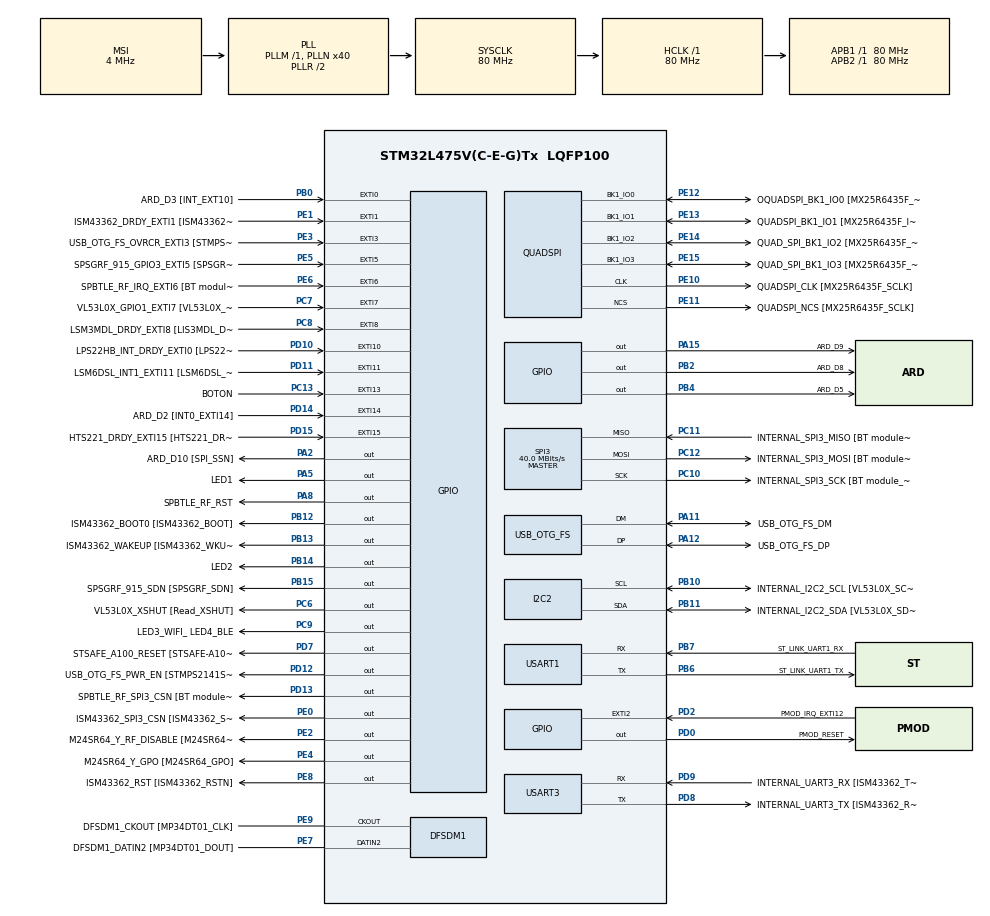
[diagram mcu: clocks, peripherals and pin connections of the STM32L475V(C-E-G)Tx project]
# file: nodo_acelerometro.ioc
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FREERTOS.Queues01=print_queue,2,uintptr_t,0,Dynamic,NULL,NULL;receive_queue,1,uint8_t,0,Dynamic,NULL,NULL;publish_queue,1024,uintptr_t,0,Dynamic,NULL,NULL
FREERTOS.Tasks01=conf_inicial,24,256,conf_inicial_func,Default,NULL,Dynamic,NULL,NULL;readAccel,24,512,readAccel_func,Default,NULL,Dynamic,NULL,NULL;printTask,24,128,printTask_func,Default,NULL,Dynamic,NULL,NULL;tarea_UART,24,128,tarea_UART_func,Default,NULL,Dynamic,NULL,NULL;temporizador,24,128,temporizador_func,Default,NULL,Dynamic,NULL,NULL;clientMQTT,24,512,clientMQTT_func,Default,NULL,Dynamic,NULL,NULL
FREERTOS.configGENERATE_RUN_TIME_STATS=1
FREERTOS.configTOTAL_HEAP_SIZE=25000
FREERTOS.configUSE_NEWLIB_REENTRANT=1
FREERTOS.configUSE_STATS_FORMATTING_FUNCTIONS=1
Mcu.Family=STM32L4
Mcu.Name=STM32L475V(C-E-G)Tx
Mcu.Package=LQFP100
NVIC.EXTI15_10_IRQn=true\:5\:0\:false\:false\:true\:true\:true\:true\:true
NVIC.EXTI1_IRQn=true\:5\:0\:true\:false\:true\:false\:true\:true\:true
NVIC.EXTI9_5_IRQn=true\:5\:0\:false\:false\:true\:true\:true\:true\:true
NVIC.PriorityGroup=NVIC_PRIORITYGROUP_4
NVIC.SPI3_IRQn=true\:5\:0\:true\:false\:false\:false\:true\:true\:true
NVIC.TIM6_DAC_IRQn=true\:15\:0\:false\:false\:true\:false\:false\:true\:true
NVIC.TIM7_IRQn=true\:5\:0\:false\:false\:true\:true\:true\:true\:true
NVIC.TimeBase=TIM6_DAC_IRQn
NVIC.TimeBaseIP=TIM6
NVIC.USART1_IRQn=true\:5\:0\:false\:false\:true\:true\:true\:true\:true
PA0.GPIO_Label=ARD_D1 [UART4_TX]
PA0.Signal=UART4_TX
PA1.GPIO_Label=ARD_D0 [UART4_RX]
PA1.Signal=UART4_RX
PA10.GPIO_Label=USB_OTG_FS_ID
PA10.Signal=USB_OTG_FS_ID
PA11.GPIO_Label=USB_OTG_FS_DM
PA11.Mode=Device_Only
PA11.Signal=USB_OTG_FS_DM
PA12.GPIO_Label=USB_OTG_FS_DP
PA12.Mode=Device_Only
PA12.Signal=USB_OTG_FS_DP
PA13\ (JTMS-SWDIO).GPIO_Label=SYS_JTMS_SWDIO
PA13\ (JTMS-SWDIO).Mode=Trace_Asynchronous_SW
PA13\ (JTMS-SWDIO).Signal=SYS_JTMS-SWDIO
PA14\ (JTCK-SWCLK).GPIO_Label=SYS_JTCK_SWCLK
PA14\ (JTCK-SWCLK).Mode=Trace_Asynchronous_SW
PA14\ (JTCK-SWCLK).Signal=SYS_JTCK-SWCLK
PA15\ (JTDI).GPIO_Label=ARD_D9
PA15\ (JTDI).Signal=GPIO_Output
PA2.GPIO_Label=ARD_D10 [SPI_SSN]
PA2.Signal=GPIO_Output
PA3.GPIO_Label=ARD_D4
PA3.Signal=S_TIM2_CH4
PA4.GPIO_Label=ARD_D7
PA4.Signal=ADCx_IN9
PA5.GPIO_Label=LED1
PA5.Signal=GPIO_Output
PA6.GPIO_Label=ARD_D12 [SPI1_MISO]
PA6.Signal=SPI1_MISO
PA7.GPIO_Label=ARD_D11 [SPI1_MOSI]
PA7.Signal=SPI1_MOSI
PA8.GPIO_Label=SPBTLE_RF_RST
PA8.Signal=GPIO_Output
PA9.GPIO_Label=USB_OTG_FS_VBUS [STMPS2141STR_OUT]
PA9.Signal=USB_OTG_FS_VBUS
PB0.GPIO_Label=ARD_D3 [INT_EXT10]
PB0.Signal=GPXTI0
PB1.GPIO_Label=ARD_D6 [ADC1_IN6]
PB1.Signal=ADCx_IN16
PB10.GPIO_Label=INTERNAL_I2C2_SCL [VL53L0X_SCL]
PB10.GPIO_Pu=GPIO_PULLUP
PB10.Mode=I2C
PB10.Signal=I2C2_SCL
PB11.GPIO_Label=INTERNAL_I2C2_SDA [VL53L0X_SDA]
PB11.GPIO_Pu=GPIO_PULLUP
PB11.Mode=I2C
PB11.Signal=I2C2_SDA
PB12.GPIO_Label=ISM43362_BOOT0 [ISM43362_BOOT]
PB12.Signal=GPIO_Output
PB13.GPIO_Label=ISM43362_WAKEUP [ISM43362_WKUP]
PB13.Signal=GPIO_Output
PB14.GPIO_Label=LED2
PB14.Signal=GPIO_Output
PB15.GPIO_Label=SPSGRF_915_SDN [SPSGRF_SDN]
PB15.Signal=GPIO_Output
PB2.GPIO_Label=ARD_D8
PB2.Signal=GPIO_Output
PB3\ (JTDO-TRACESWO).GPIO_Label=SYS_JTD0_SWO
PB3\ (JTDO-TRACESWO).Mode=Trace_Asynchronous_SW
PB3\ (JTDO-TRACESWO).Signal=SYS_JTDO-SWO
PB4\ (NJTRST).GPIO_Label=ARD_D5
PB4\ (NJTRST).Signal=GPIO_Output
PB6.GPIO_Label=ST_LINK_UART1_TX
PB6.Mode=Asynchronous
PB6.Signal=USART1_TX
PB7.GPIO_Label=ST_LINK_UART1_RX
PB7.Mode=Asynchronous
PB7.Signal=USART1_RX
PB8.GPIO_Label=ARD_D15 [I2C1_SCL]
PB8.Signal=I2C1_SCL
PB9.GPIO_Label=ARD_D14 [I2C1_SDA]
PB9.Signal=I2C1_SDA
PC0.GPIO_Label=ARD_A5 [ADC]
PC0.Signal=ADCx_IN1
PC1.GPIO_Label=ARD_A4 [ADC]
PC1.Signal=ADCx_IN2
PC10.GPIO_Label=INTERNAL_SPI3_SCK [BT module_SPI_SCLK] [ISM43362_SCK]
PC10.Mode=Full_Duplex_Master
PC10.Signal=SPI3_SCK
PC11.GPIO_Label=INTERNAL_SPI3_MISO [BT module_SPI_MISO] [ISM43362_MISO]
PC11.Mode=Full_Duplex_Master
PC11.Signal=SPI3_MISO
PC12.GPIO_Label=INTERNAL_SPI3_MOSI [BT module_SPI_MOSI] [ISM43362_MOSI]
PC12.Mode=Full_Duplex_Master
PC12.Signal=SPI3_MOSI
PC13.GPIO_Label=BOTON
PC13.Signal=GPXTI13
PC14-OSC32_IN\ (PC14).Mode=LSE-External-Oscillator
PC14-OSC32_IN\ (PC14).Signal=RCC_OSC32_IN
PC15-OSC32_OUT\ (PC15).Mode=LSE-External-Oscillator
PC15-OSC32_OUT\ (PC15).Signal=RCC_OSC32_OUT
PC2.GPIO_Label=ARD_A3 [ADC]
PC2.Signal=ADCx_IN3
PC3.GPIO_Label=ARD_A2 [ADC]
PC3.Signal=ADCx_IN4
PC4.GPIO_Label=ARD_A1 [ADC]
PC4.Signal=ADCx_IN13
PC5.GPIO_Label=ARD_A0 [ADC]
PC5.Signal=ADCx_IN14
PC6.GPIO_Label=VL53L0X_XSHUT [Read_XSHUT]
PC6.Signal=GPIO_Output
PC7.GPIO_Label=VL53L0X_GPIO1_EXTI7 [VL53L0X_GPIO1]
PC7.Signal=GPXTI7
PC8.GPIO_Label=LSM3MDL_DRDY_EXTI8 [LIS3MDL_DRDY]
PC8.Signal=GPXTI8
PC9.GPIO_Label=LED3_WIFI_ LED4_BLE
PC9.Signal=GPIO_Output
PD0.GPIO_Label=PMOD_RESET
PD0.Signal=GPIO_Output
PD1.GPIO_Label=PMOD_SPI2_SCK
PD1.Signal=SPI2_SCK
PD10.GPIO_Label=LPS22HB_INT_DRDY_EXTI0 [LPS22HB_INT_DRDY] 
PD10.Signal=GPXTI10
PD11.GPIO_Label=LSM6DSL_INT1_EXTI11 [LSM6DSL_INT1]
PD11.Signal=GPXTI11
PD12.GPIO_Label=USB_OTG_FS_PWR_EN [STMPS2141STR_EN]
PD12.Signal=GPIO_Output
PD13.GPIO_Label=SPBTLE_RF_SPI3_CSN [BT module_SPI_CS]
PD13.PinState=GPIO_PIN_SET
PD13.Signal=GPIO_Output
PD14.GPIO_Label=ARD_D2 [INT0_EXTI14]
PD14.Signal=GPXTI14
PD15.GPIO_Label=HTS221_DRDY_EXTI15 [HTS221_DRDY]
PD15.Signal=GPXTI15
PD2.GPIO_Label=PMOD_IRQ_EXTI12
PD2.Signal=GPXTI2
PD3.GPIO_Label=PMOD_UART2_CTS
PD3.Signal=USART2_CTS
PD4.GPIO_Label=PMOD_UART2_RTS
PD4.Signal=USART2_RTS
PD5.GPIO_Label=PMOD_UART2_TX
PD5.Signal=USART2_TX
PD6.GPIO_Label=PMOD_UART2_RX
PD6.Signal=USART2_RX
PD7.GPIO_Label=STSAFE_A100_RESET [STSAFE-A100_RESET]
PD7.Signal=GPIO_Output
PD8.GPIO_Label=INTERNAL_UART3_TX [ISM43362_RX]
PD8.Mode=Asynchronous
PD8.Signal=USART3_TX
PD9.GPIO_Label=INTERNAL_UART3_RX [ISM43362_TX]
PD9.Mode=Asynchronous
PD9.Signal=USART3_RX
PE0.GPIO_Label=ISM43362_SPI3_CSN [ISM43362_SSN]
PE0.PinState=GPIO_PIN_SET
PE0.Signal=GPIO_Output
PE1.GPIO_Label=ISM43362_DRDY_EXTI1 [ISM43362_DATARDY]
PE1.Signal=GPXTI1
PE10.GPIO_Label=QUADSPI_CLK [MX25R6435F_SCLK]
PE10.Mode=Single Bank
PE10.Signal=QUADSPI_CLK
PE11.GPIO_Label=QUADSPI_NCS [MX25R6435F_SCLK]
PE11.Mode=Single Bank
PE11.Signal=QUADSPI_NCS
PE12.GPIO_Label=OQUADSPI_BK1_IO0 [MX25R6435F_IO0]
PE12.Mode=Single Bank
PE12.Signal=QUADSPI_BK1_IO0
PE13.GPIO_Label=QUADSPI_BK1_IO1 [MX25R6435F_IO1]
PE13.Mode=Single Bank
PE13.Signal=QUADSPI_BK1_IO1
PE14.GPIO_Label=QUAD_SPI_BK1_IO2 [MX25R6435F_IO2]
PE14.Mode=Single Bank
PE14.Signal=QUADSPI_BK1_IO2
PE15.GPIO_Label=QUAD_SPI_BK1_IO3 [MX25R6435F_IO3]
PE15.Mode=Single Bank
PE15.Signal=QUADSPI_BK1_IO3
PE2.GPIO_Label=M24SR64_Y_RF_DISABLE [M24SR64_RFDIS]
PE2.Signal=GPIO_Output
PE3.GPIO_Label=USB_OTG_FS_OVRCR_EXTI3 [STMPS2141STR_FAULT]
PE3.Signal=GPXTI3
PE4.GPIO_Label=M24SR64_Y_GPO [M24SR64_GPO]
PE4.Signal=GPIO_Output
PE5.GPIO_Label=SPSGRF_915_GPIO3_EXTI5 [SPSGRF_GPIO_3]
PE5.Signal=GPXTI5
PE6.GPIO_Label=SPBTLE_RF_IRQ_EXTI6 [BT module_SPI_IRQ]
PE6.Signal=GPXTI6
PE7.GPIO_Label=DFSDM1_DATIN2 [MP34DT01_DOUT]
PE7.Signal=S_DATAIN2DFSDM1
PE8.GPIO_Label=ISM43362_RST [ISM43362_RSTN]
PE8.Signal=GPIO_Output
PE9.GPIO_Label=DFSDM1_CKOUT [MP34DT01_CLK]
PE9.Signal=S_CKOUTDFSDM1
ProjectManager.HeapSize=0x200
ProjectManager.StackSize=0x400
ProjectManager.TargetToolchain=STM32CubeIDE
QUADSPI.ClockPrescaler=2
QUADSPI.FifoThreshold=4
QUADSPI.FlashSize=23
QUADSPI.SampleShifting=QSPI_SAMPLE_SHIFTING_HALFCYCLE
RCC.ADCFreq_Value=48000000
RCC.AHBFreq_Value=80000000
RCC.APB1Freq_Value=80000000
RCC.APB1TimFreq_Value=80000000
RCC.APB2Freq_Value=80000000
RCC.APB2TimFreq_Value=80000000
RCC.CortexFreq_Value=80000000
RCC.HCLKFreq_Value=80000000
RCC.HSE_VALUE=8000000
RCC.HSI_VALUE=16000000
RCC.MSI_VALUE=4000000
RCC.PLLN=40
RCC.PLLSAI1N=24
RCC.SYSCLKFreq_VALUE=80000000
RCC.SYSCLKSource=RCC_SYSCLKSOURCE_PLLCLK
RCC.USBFreq_Value=48000000
RCC.VCOOutputFreq_Value=160000000
RTC.Format=RTC_FORMAT_BIN
RTC.Hours=13
RTC.Minutes=1
RTC.SynchPrediv=999
SH.ADCx_IN1.0=ADC1_IN1
SH.ADCx_IN13.0=ADC1_IN13
SH.ADCx_IN14.0=ADC1_IN14
SH.ADCx_IN16.0=ADC1_IN16
SH.ADCx_IN2.0=ADC1_IN2
SH.ADCx_IN3.0=ADC1_IN3
SH.ADCx_IN4.0=ADC1_IN4
SH.ADCx_IN9.0=ADC1_IN9
SH.S_CKOUTDFSDM1.0=DFSDM1_CKOUT,CKOUT
SH.S_CKOUTDFSDM1.1=DFSDM1_CKOUT,PDM_SPI_Input_from_ch12_and_Internal_Clock
SH.S_DATAIN2DFSDM1.0=DFSDM1_DATIN2,PDM_SPI_Input_from_ch12_and_Internal_Clock
SH.S_TIM2_CH4.0=TIM2_CH4
SPI3.CalculateBaudRate=40.0 MBits/s
SPI3.Direction=SPI_DIRECTION_2LINES
SPI3.Mode=SPI_MODE_MASTER
SPI3.VirtualType=VM_MASTER
TIM7.Period=799
USART1.VirtualMode-Asynchronous=VM_ASYNC
USART3.VirtualMode-Asynchronous=VM_ASYNC
USB_OTG_FS.VirtualMode=Device_Only
VP_FREERTOS_VS_CMSIS_V2.Mode=CMSIS_V2
VP_RTC_VS_RTC_Activate.Mode=RTC_Enabled
VP_RTC_VS_RTC_Calendar.Mode=RTC_Calendar
VP_SYS_VS_tim6.Mode=TIM6
VP_TIM7_VS_ClockSourceINT.Mode=Enable_Timer
board=B-L475E-IOT01A2

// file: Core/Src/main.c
/* USER CODE BEGIN Header */
/**
  ******************************************************************************
  * @file           : main.c
  * @brief          : Main program body
  ******************************************************************************
  * @attention
  *
  * Copyright (c) 2022 STMicroelectronics.
  * All rights reserved.
  *
  * This software is licensed under terms that can be found in the LICENSE file
  * in the root directory of this software component.
  * If no LICENSE file comes with this software, it is provided AS-IS.
  *
  ******************************************************************************
  */
/* USER CODE END Header */
#include "main.h"
#include "cmsis_os.h"

/* USER CODE BEGIN Includes */
#include <stdio.h>
#include <stdbool.h>
#include "stm32l475e_iot01.h"
#include <math.h>
#include <string.h>
#include "stm32l475e_iot01_accelero.h"

#include "es_wifi.h"
#include "wifi.h"

#include "core_mqtt.h"
#include "mqtt_priv.h"
#include "timers.h"

/* USER CODE END Includes */

/* USER CODE BEGIN PM */
#define MODO_NORMAL 0x0001U
#define MODO_CONTINUO 0x0002U
#define TIMER_MQTT 0x0004U

#define MUESTRAS_NORMAL 64
#define MUESTRAS_CONTINUO 1024

#define MAX_LEN_SSID 10
#define MAX_LEN_PSSWRD 20

#define WIFISECURITY WIFI_ECN_WPA2_PSK
//#define WIFISECURITY WIFI_ECN_OPEN
#define SOCKET 0
#define SOCKETSUBS 1
#define WIFI_READ_TIMEOUT 10000
#define WIFI_WRITE_TIMEOUT 0
/* USER CODE END PM */

DFSDM_Channel_HandleTypeDef hdfsdm1_channel1;

I2C_HandleTypeDef hi2c2;

QSPI_HandleTypeDef hqspi;

RTC_HandleTypeDef hrtc;

SPI_HandleTypeDef hspi3;

TIM_HandleTypeDef htim7;

UART_HandleTypeDef huart1;
UART_HandleTypeDef huart3;

PCD_HandleTypeDef hpcd_USB_OTG_FS;

/* Definitions for conf_inicial */
osThreadId_t conf_inicialHandle;
const osThreadAttr_t conf_inicial_attributes = {
  .name = "conf_inicial",
  .stack_size = 256 * 4,
  .priority = (osPriority_t) osPriorityNormal,
};
/* Definitions for readAccel */
osThreadId_t readAccelHandle;
const osThreadAttr_t readAccel_attributes = {
  .name = "readAccel",
  .stack_size = 512 * 4,
  .priority = (osPriority_t) osPriorityNormal,
};
/* Definitions for printTask */
osThreadId_t printTaskHandle;
const osThreadAttr_t printTask_attributes = {
  .name = "printTask",
  .stack_size = 128 * 4,
  .priority = (osPriority_t) osPriorityNormal,
};
/* Definitions for tarea_UART */
osThreadId_t tarea_UARTHandle;
const osThreadAttr_t tarea_UART_attributes = {
  .name = "tarea_UART",
  .stack_size = 128 * 4,
  .priority = (osPriority_t) osPriorityNormal,
};
/* Definitions for temporizador */
osThreadId_t temporizadorHandle;
const osThreadAttr_t temporizador_attributes = {
  .name = "temporizador",
  .stack_size = 128 * 4,
  .priority = (osPriority_t) osPriorityNormal,
};
/* Definitions for clientMQTT */
osThreadId_t clientMQTTHandle;
const osThreadAttr_t clientMQTT_attributes = {
  .name = "clientMQTT",
  .stack_size = 512 * 4,
  .priority = (osPriority_t) osPriorityNormal,
};
/* Definitions for print_queue */
osMessageQueueId_t print_queueHandle;
const osMessageQueueAttr_t print_queue_attributes = {
  .name = "print_queue"
};
/* Definitions for receive_queue */
osMessageQueueId_t receive_queueHandle;
const osMessageQueueAttr_t receive_queue_attributes = {
  .name = "receive_queue"
};
/* Definitions for publish_queue */
osMessageQueueId_t publish_queueHandle;
const osMessageQueueAttr_t publish_queue_attributes = {
  .name = "publish_queue"
};
/* USER CODE BEGIN PV */
RTC_DateTypeDef GetDate; //Estructura para fijar/leer fecha
RTC_TimeTypeDef GetTime; //Estructura para fijar/leer hora

ACCELERO_StatusTypeDef status_acc;

volatile bool modo_continuo;
volatile frec_muestreo_actual = 52;

extern  SPI_HandleTypeDef hspi;
static  uint8_t  IP_Addr[4];

/* USER CODE END PV */

void SystemClock_Config(void);
static void MX_GPIO_Init(void);
static void MX_DFSDM1_Init(void);
static void MX_I2C2_Init(void);
static void MX_QUADSPI_Init(void);
static void MX_SPI3_Init(void);
static void MX_USART1_UART_Init(void);
static void MX_USART3_UART_Init(void);
static void MX_USB_OTG_FS_PCD_Init(void);
static void MX_TIM7_Init(void);
static void MX_RTC_Init(void);
void conf_inicial_func(void *argument);
void readAccel_func(void *argument);
void printTask_func(void *argument);
void tarea_UART_func(void *argument);
void temporizador_func(void *argument);
void clientMQTT_func(void *argument);

/* USER CODE BEGIN PFP */
volatile unsigned long ulHighFrequencyTimerTicks;
void configureTimerForRunTimeStats(void) {
	ulHighFrequencyTimerTicks = 0;
	HAL_TIM_Base_Start_IT(&htim7);
}
unsigned long getRunTimeCounterValue(void) {
	return ulHighFrequencyTimerTicks;

}

ACCELERO_StatusTypeDef BSP_ACCELERO_Init_INT(uint8_t frec, uint8_t fs);

/* USER CODE END PFP */

/* USER CODE BEGIN 0 */
uint8_t rec_data;
/* USER CODE END 0 */

int main(void)
{

  /* MCU Configuration--------------------------------------------------------*/

  /* Reset of all peripherals, Initializes the Flash interface and the Systick. */
  HAL_Init();

  /* Configure the system clock */
  SystemClock_Config();

  /* Initialize all configured peripherals */
  MX_GPIO_Init();
  MX_DFSDM1_Init();
  MX_I2C2_Init();
  MX_QUADSPI_Init();
  MX_SPI3_Init();
  MX_USART1_UART_Init();
  MX_USART3_UART_Init();
  MX_USB_OTG_FS_PCD_Init();
  MX_TIM7_Init();
  MX_RTC_Init();
  /* USER CODE BEGIN 2 */
  status_acc = BSP_ACCELERO_Init_INT(LSM6DSL_ODR_52Hz, LSM6DSL_ACC_FULLSCALE_2G);
  if (status_acc == ACCELERO_OK){
	  printf("Acelerometro inicializado\r\n");
  }

  /* USER CODE END 2 */

  /* Init scheduler */
  osKernelInitialize();

  /* Create the queue(s) */
  /* creation of print_queue */
  print_queueHandle = osMessageQueueNew (2, sizeof(uintptr_t), &print_queue_attributes);

  /* creation of receive_queue */
  receive_queueHandle = osMessageQueueNew (1, sizeof(uint8_t), &receive_queue_attributes);

  /* creation of publish_queue */
  publish_queueHandle = osMessageQueueNew (1024, sizeof(uintptr_t), &publish_queue_attributes);

  /* Create the thread(s) */
  /* creation of conf_inicial */
  conf_inicialHandle = osThreadNew(conf_inicial_func, NULL, &conf_inicial_attributes);

  /* creation of readAccel */
  readAccelHandle = osThreadNew(readAccel_func, NULL, &readAccel_attributes);

  /* creation of printTask */
  printTaskHandle = osThreadNew(printTask_func, NULL, &printTask_attributes);

  /* creation of tarea_UART */
  tarea_UARTHandle = osThreadNew(tarea_UART_func, NULL, &tarea_UART_attributes);

  /* creation of temporizador */
  temporizadorHandle = osThreadNew(temporizador_func, NULL, &temporizador_attributes);

  /* creation of clientMQTT */
  clientMQTTHandle = osThreadNew(clientMQTT_func, NULL, &clientMQTT_attributes);

  /* USER CODE BEGIN RTOS_THREADS */
  /* add threads, ... */
  HAL_UART_Receive_IT(&huart1,&rec_data,1);
  /* USER CODE END RTOS_THREADS */

  /* Start scheduler */
  osKernelStart();

  /* We should never get here as control is now taken by the scheduler */
  /* Infinite loop */
  while (1)
  {

  }
}

void SystemClock_Config(void)
{
  RCC_OscInitTypeDef RCC_OscInitStruct = {0};
  RCC_ClkInitTypeDef RCC_ClkInitStruct = {0};

  /** Configure the main internal regulator output voltage
  */
  if (HAL_PWREx_ControlVoltageScaling(PWR_REGULATOR_VOLTAGE_SCALE1) != HAL_OK)
  {
    Error_Handler();
  }

  /** Configure LSE Drive Capability
  */
  HAL_PWR_EnableBkUpAccess();
  __HAL_RCC_LSEDRIVE_CONFIG(RCC_LSEDRIVE_LOW);

  /** Initializes the RCC Oscillators according to the specified parameters
  * in the RCC_OscInitTypeDef structure.
  */
  RCC_OscInitStruct.OscillatorType = RCC_OSCILLATORTYPE_LSI|RCC_OSCILLATORTYPE_LSE
                              |RCC_OSCILLATORTYPE_MSI;
  RCC_OscInitStruct.LSEState = RCC_LSE_ON;
  RCC_OscInitStruct.LSIState = RCC_LSI_ON;
  RCC_OscInitStruct.MSIState = RCC_MSI_ON;
  RCC_OscInitStruct.MSICalibrationValue = 0;
  RCC_OscInitStruct.MSIClockRange = RCC_MSIRANGE_6;
  RCC_OscInitStruct.PLL.PLLState = RCC_PLL_ON;
  RCC_OscInitStruct.PLL.PLLSource = RCC_PLLSOURCE_MSI;
  RCC_OscInitStruct.PLL.PLLM = 1;
  RCC_OscInitStruct.PLL.PLLN = 40;
  RCC_OscInitStruct.PLL.PLLP = RCC_PLLP_DIV7;
  RCC_OscInitStruct.PLL.PLLQ = RCC_PLLQ_DIV2;
  RCC_OscInitStruct.PLL.PLLR = RCC_PLLR_DIV2;
  if (HAL_RCC_OscConfig(&RCC_OscInitStruct) != HAL_OK)
  {
    Error_Handler();
  }

  /** Initializes the CPU, AHB and APB buses clocks
  */
  RCC_ClkInitStruct.ClockType = RCC_CLOCKTYPE_HCLK|RCC_CLOCKTYPE_SYSCLK
                              |RCC_CLOCKTYPE_PCLK1|RCC_CLOCKTYPE_PCLK2;
  RCC_ClkInitStruct.SYSCLKSource = RCC_SYSCLKSOURCE_PLLCLK;
  RCC_ClkInitStruct.AHBCLKDivider = RCC_SYSCLK_DIV1;
  RCC_ClkInitStruct.APB1CLKDivider = RCC_HCLK_DIV1;
  RCC_ClkInitStruct.APB2CLKDivider = RCC_HCLK_DIV1;

  if (HAL_RCC_ClockConfig(&RCC_ClkInitStruct, FLASH_LATENCY_4) != HAL_OK)
  {
    Error_Handler();
  }

  /** Enable MSI Auto calibration
  */
  HAL_RCCEx_EnableMSIPLLMode();
}

static void MX_DFSDM1_Init(void)
{

  hdfsdm1_channel1.Instance = DFSDM1_Channel1;
  hdfsdm1_channel1.Init.OutputClock.Activation = ENABLE;
  hdfsdm1_channel1.Init.OutputClock.Selection = DFSDM_CHANNEL_OUTPUT_CLOCK_SYSTEM;
  hdfsdm1_channel1.Init.OutputClock.Divider = 2;
  hdfsdm1_channel1.Init.Input.Multiplexer = DFSDM_CHANNEL_EXTERNAL_INPUTS;
  hdfsdm1_channel1.Init.Input.DataPacking = DFSDM_CHANNEL_STANDARD_MODE;
  hdfsdm1_channel1.Init.Input.Pins = DFSDM_CHANNEL_FOLLOWING_CHANNEL_PINS;
  hdfsdm1_channel1.Init.SerialInterface.Type = DFSDM_CHANNEL_SPI_RISING;
  hdfsdm1_channel1.Init.SerialInterface.SpiClock = DFSDM_CHANNEL_SPI_CLOCK_INTERNAL;
  hdfsdm1_channel1.Init.Awd.FilterOrder = DFSDM_CHANNEL_FASTSINC_ORDER;
  hdfsdm1_channel1.Init.Awd.Oversampling = 1;
  hdfsdm1_channel1.Init.Offset = 0;
  hdfsdm1_channel1.Init.RightBitShift = 0x00;
  if (HAL_DFSDM_ChannelInit(&hdfsdm1_channel1) != HAL_OK)
  {
    Error_Handler();
  }

}

static void MX_I2C2_Init(void)
{

  hi2c2.Instance = I2C2;
  hi2c2.Init.Timing = 0x00000E14;
  hi2c2.Init.OwnAddress1 = 0;
  hi2c2.Init.AddressingMode = I2C_ADDRESSINGMODE_7BIT;
  hi2c2.Init.DualAddressMode = I2C_DUALADDRESS_DISABLE;
  hi2c2.Init.OwnAddress2 = 0;
  hi2c2.Init.OwnAddress2Masks = I2C_OA2_NOMASK;
  hi2c2.Init.GeneralCallMode = I2C_GENERALCALL_DISABLE;
  hi2c2.Init.NoStretchMode = I2C_NOSTRETCH_DISABLE;
  if (HAL_I2C_Init(&hi2c2) != HAL_OK)
  {
    Error_Handler();
  }

  /** Configure Analogue filter
  */
  if (HAL_I2CEx_ConfigAnalogFilter(&hi2c2, I2C_ANALOGFILTER_ENABLE) != HAL_OK)
  {
    Error_Handler();
  }

  /** Configure Digital filter
  */
  if (HAL_I2CEx_ConfigDigitalFilter(&hi2c2, 0) != HAL_OK)
  {
    Error_Handler();
  }

}

static void MX_QUADSPI_Init(void)
{

  /* QUADSPI parameter configuration*/
  hqspi.Instance = QUADSPI;
  hqspi.Init.ClockPrescaler = 2;
  hqspi.Init.FifoThreshold = 4;
  hqspi.Init.SampleShifting = QSPI_SAMPLE_SHIFTING_HALFCYCLE;
  hqspi.Init.FlashSize = 23;
  hqspi.Init.ChipSelectHighTime = QSPI_CS_HIGH_TIME_1_CYCLE;
  hqspi.Init.ClockMode = QSPI_CLOCK_MODE_0;
  if (HAL_QSPI_Init(&hqspi) != HAL_OK)
  {
    Error_Handler();
  }

}

static void MX_RTC_Init(void)
{

  RTC_TimeTypeDef sTime = {0};
  RTC_DateTypeDef sDate = {0};

  /** Initialize RTC Only
  */
  hrtc.Instance = RTC;
  hrtc.Init.HourFormat = RTC_HOURFORMAT_24;
  hrtc.Init.AsynchPrediv = 127;
  hrtc.Init.SynchPrediv = 999;
  hrtc.Init.OutPut = RTC_OUTPUT_DISABLE;
  hrtc.Init.OutPutRemap = RTC_OUTPUT_REMAP_NONE;
  hrtc.Init.OutPutPolarity = RTC_OUTPUT_POLARITY_HIGH;
  hrtc.Init.OutPutType = RTC_OUTPUT_TYPE_OPENDRAIN;
  if (HAL_RTC_Init(&hrtc) != HAL_OK)
  {
    Error_Handler();
  }

  /** Initialize RTC and set the Time and Date
  */
  sTime.Hours = 13;
  sTime.Minutes = 1;
  sTime.Seconds = 0;
  sTime.DayLightSaving = RTC_DAYLIGHTSAVING_NONE;
  sTime.StoreOperation = RTC_STOREOPERATION_RESET;
  if (HAL_RTC_SetTime(&hrtc, &sTime, RTC_FORMAT_BIN) != HAL_OK)
  {
    Error_Handler();
  }
  sDate.WeekDay = RTC_WEEKDAY_MONDAY;
  sDate.Month = RTC_MONTH_JANUARY;
  sDate.Date = 1;
  sDate.Year = 0;

  if (HAL_RTC_SetDate(&hrtc, &sDate, RTC_FORMAT_BIN) != HAL_OK)
  {
    Error_Handler();
  }

}

static void MX_SPI3_Init(void)
{

  /* SPI3 parameter configuration*/
  hspi3.Instance = SPI3;
  hspi3.Init.Mode = SPI_MODE_MASTER;
  hspi3.Init.Direction = SPI_DIRECTION_2LINES;
  hspi3.Init.DataSize = SPI_DATASIZE_4BIT;
  hspi3.Init.CLKPolarity = SPI_POLARITY_LOW;
  hspi3.Init.CLKPhase = SPI_PHASE_1EDGE;
  hspi3.Init.NSS = SPI_NSS_SOFT;
  hspi3.Init.BaudRatePrescaler = SPI_BAUDRATEPRESCALER_2;
  hspi3.Init.FirstBit = SPI_FIRSTBIT_MSB;
  hspi3.Init.TIMode = SPI_TIMODE_DISABLE;
  hspi3.Init.CRCCalculation = SPI_CRCCALCULATION_DISABLE;
  hspi3.Init.CRCPolynomial = 7;
  hspi3.Init.CRCLength = SPI_CRC_LENGTH_DATASIZE;
  hspi3.Init.NSSPMode = SPI_NSS_PULSE_ENABLE;
  if (HAL_SPI_Init(&hspi3) != HAL_OK)
  {
    Error_Handler();
  }

}

static void MX_TIM7_Init(void)
{

  TIM_MasterConfigTypeDef sMasterConfig = {0};

  htim7.Instance = TIM7;
  htim7.Init.Prescaler = 0;
  htim7.Init.CounterMode = TIM_COUNTERMODE_UP;
  htim7.Init.Period = 799;
  htim7.Init.AutoReloadPreload = TIM_AUTORELOAD_PRELOAD_DISABLE;
  if (HAL_TIM_Base_Init(&htim7) != HAL_OK)
  {
    Error_Handler();
  }
  sMasterConfig.MasterOutputTrigger = TIM_TRGO_RESET;
  sMasterConfig.MasterSlaveMode = TIM_MASTERSLAVEMODE_DISABLE;
  if (HAL_TIMEx_MasterConfigSynchronization(&htim7, &sMasterConfig) != HAL_OK)
  {
    Error_Handler();
  }

}

static void MX_USART1_UART_Init(void)
{

  huart1.Instance = USART1;
  huart1.Init.BaudRate = 115200;
  huart1.Init.WordLength = UART_WORDLENGTH_8B;
  huart1.Init.StopBits = UART_STOPBITS_1;
  huart1.Init.Parity = UART_PARITY_NONE;
  huart1.Init.Mode = UART_MODE_TX_RX;
  huart1.Init.HwFlowCtl = UART_HWCONTROL_NONE;
  huart1.Init.OverSampling = UART_OVERSAMPLING_16;
  huart1.Init.OneBitSampling = UART_ONE_BIT_SAMPLE_DISABLE;
  huart1.AdvancedInit.AdvFeatureInit = UART_ADVFEATURE_NO_INIT;
  if (HAL_UART_Init(&huart1) != HAL_OK)
  {
    Error_Handler();
  }

}

static void MX_USART3_UART_Init(void)
{

  huart3.Instance = USART3;
  huart3.Init.BaudRate = 115200;
  huart3.Init.WordLength = UART_WORDLENGTH_8B;
  huart3.Init.StopBits = UART_STOPBITS_1;
  huart3.Init.Parity = UART_PARITY_NONE;
  huart3.Init.Mode = UART_MODE_TX_RX;
  huart3.Init.HwFlowCtl = UART_HWCONTROL_NONE;
  huart3.Init.OverSampling = UART_OVERSAMPLING_16;
  huart3.Init.OneBitSampling = UART_ONE_BIT_SAMPLE_DISABLE;
  huart3.AdvancedInit.AdvFeatureInit = UART_ADVFEATURE_NO_INIT;
  if (HAL_UART_Init(&huart3) != HAL_OK)
  {
    Error_Handler();
  }

}

static void MX_USB_OTG_FS_PCD_Init(void)
{

  hpcd_USB_OTG_FS.Instance = USB_OTG_FS;
  hpcd_USB_OTG_FS.Init.dev_endpoints = 6;
  hpcd_USB_OTG_FS.Init.speed = PCD_SPEED_FULL;
  hpcd_USB_OTG_FS.Init.phy_itface = PCD_PHY_EMBEDDED;
  hpcd_USB_OTG_FS.Init.Sof_enable = DISABLE;
  hpcd_USB_OTG_FS.Init.low_power_enable = DISABLE;
  hpcd_USB_OTG_FS.Init.lpm_enable = DISABLE;
  hpcd_USB_OTG_FS.Init.battery_charging_enable = DISABLE;
  hpcd_USB_OTG_FS.Init.use_dedicated_ep1 = DISABLE;
  hpcd_USB_OTG_FS.Init.vbus_sensing_enable = DISABLE;
  if (HAL_PCD_Init(&hpcd_USB_OTG_FS) != HAL_OK)
  {
    Error_Handler();
  }

}

static void MX_GPIO_Init(void)
{
  GPIO_InitTypeDef GPIO_InitStruct = {0};

  /* GPIO Ports Clock Enable */
  __HAL_RCC_GPIOE_CLK_ENABLE();
  __HAL_RCC_GPIOC_CLK_ENABLE();
  __HAL_RCC_GPIOA_CLK_ENABLE();
  __HAL_RCC_GPIOB_CLK_ENABLE();
  __HAL_RCC_GPIOD_CLK_ENABLE();

  /*Configure GPIO pin Output Level */
  HAL_GPIO_WritePin(GPIOE, M24SR64_Y_RF_DISABLE_Pin|M24SR64_Y_GPO_Pin|ISM43362_RST_Pin, GPIO_PIN_RESET);

  /*Configure GPIO pin Output Level */
  HAL_GPIO_WritePin(GPIOA, ARD_D10_Pin|LED1_Pin|SPBTLE_RF_RST_Pin|ARD_D9_Pin, GPIO_PIN_RESET);

  /*Configure GPIO pin Output Level */
  HAL_GPIO_WritePin(GPIOB, ARD_D8_Pin|ISM43362_BOOT0_Pin|ISM43362_WAKEUP_Pin|LED2_Pin
                          |SPSGRF_915_SDN_Pin|ARD_D5_Pin, GPIO_PIN_RESET);

  /*Configure GPIO pin Output Level */
  HAL_GPIO_WritePin(GPIOD, USB_OTG_FS_PWR_EN_Pin|PMOD_RESET_Pin|STSAFE_A100_RESET_Pin, GPIO_PIN_RESET);

  /*Configure GPIO pin Output Level */
  HAL_GPIO_WritePin(SPBTLE_RF_SPI3_CSN_GPIO_Port, SPBTLE_RF_SPI3_CSN_Pin, GPIO_PIN_SET);

  /*Configure GPIO pin Output Level */
  HAL_GPIO_WritePin(GPIOC, VL53L0X_XSHUT_Pin|LED3_WIFI__LED4_BLE_Pin, GPIO_PIN_RESET);

  /*Configure GPIO pin Output Level */
  HAL_GPIO_WritePin(ISM43362_SPI3_CSN_GPIO_Port, ISM43362_SPI3_CSN_Pin, GPIO_PIN_SET);

  /*Configure GPIO pins : M24SR64_Y_RF_DISABLE_Pin M24SR64_Y_GPO_Pin ISM43362_RST_Pin ISM43362_SPI3_CSN_Pin */
  GPIO_InitStruct.Pin = M24SR64_Y_RF_DISABLE_Pin|M24SR64_Y_GPO_Pin|ISM43362_RST_Pin|ISM43362_SPI3_CSN_Pin;
  GPIO_InitStruct.Mode = GPIO_MODE_OUTPUT_PP;
  GPIO_InitStruct.Pull = GPIO_NOPULL;
  GPIO_InitStruct.Speed = GPIO_SPEED_FREQ_LOW;
  HAL_GPIO_Init(GPIOE, &GPIO_InitStruct);

  /*Configure GPIO pins : USB_OTG_FS_OVRCR_EXTI3_Pin SPSGRF_915_GPIO3_EXTI5_Pin SPBTLE_RF_IRQ_EXTI6_Pin ISM43362_DRDY_EXTI1_Pin */
  GPIO_InitStruct.Pin = USB_OTG_FS_OVRCR_EXTI3_Pin|SPSGRF_915_GPIO3_EXTI5_Pin|SPBTLE_RF_IRQ_EXTI6_Pin|ISM43362_DRDY_EXTI1_Pin;
  GPIO_InitStruct.Mode = GPIO_MODE_IT_RISING;
  GPIO_InitStruct.Pull = GPIO_NOPULL;
  HAL_GPIO_Init(GPIOE, &GPIO_InitStruct);

  /*Configure GPIO pins : BOTON_Pin VL53L0X_GPIO1_EXTI7_Pin LSM3MDL_DRDY_EXTI8_Pin */
  GPIO_InitStruct.Pin = BOTON_Pin|VL53L0X_GPIO1_EXTI7_Pin|LSM3MDL_DRDY_EXTI8_Pin;
  GPIO_InitStruct.Mode = GPIO_MODE_IT_RISING;
  GPIO_InitStruct.Pull = GPIO_NOPULL;
  HAL_GPIO_Init(GPIOC, &GPIO_InitStruct);

  /*Configure GPIO pins : ARD_A5_Pin ARD_A4_Pin ARD_A3_Pin ARD_A2_Pin
                           ARD_A1_Pin ARD_A0_Pin */
  GPIO_InitStruct.Pin = ARD_A5_Pin|ARD_A4_Pin|ARD_A3_Pin|ARD_A2_Pin
                          |ARD_A1_Pin|ARD_A0_Pin;
  GPIO_InitStruct.Mode = GPIO_MODE_ANALOG_ADC_CONTROL;
  GPIO_InitStruct.Pull = GPIO_NOPULL;
  HAL_GPIO_Init(GPIOC, &GPIO_InitStruct);

  /*Configure GPIO pins : ARD_D1_Pin ARD_D0_Pin */
  GPIO_InitStruct.Pin = ARD_D1_Pin|ARD_D0_Pin;
  GPIO_InitStruct.Mode = GPIO_MODE_AF_PP;
  GPIO_InitStruct.Pull = GPIO_NOPULL;
  GPIO_InitStruct.Speed = GPIO_SPEED_FREQ_VERY_HIGH;
  GPIO_InitStruct.Alternate = GPIO_AF8_UART4;
  HAL_GPIO_Init(GPIOA, &GPIO_InitStruct);

  /*Configure GPIO pins : ARD_D10_Pin LED1_Pin SPBTLE_RF_RST_Pin ARD_D9_Pin */
  GPIO_InitStruct.Pin = ARD_D10_Pin|LED1_Pin|SPBTLE_RF_RST_Pin|ARD_D9_Pin;
  GPIO_InitStruct.Mode = GPIO_MODE_OUTPUT_PP;
  GPIO_InitStruct.Pull = GPIO_NOPULL;
  GPIO_InitStruct.Speed = GPIO_SPEED_FREQ_LOW;
  HAL_GPIO_Init(GPIOA, &GPIO_InitStruct);

  /*Configure GPIO pin : ARD_D4_Pin */
  GPIO_InitStruct.Pin = ARD_D4_Pin;
  GPIO_InitStruct.Mode = GPIO_MODE_AF_PP;
  GPIO_InitStruct.Pull = GPIO_NOPULL;
  GPIO_InitStruct.Speed = GPIO_SPEED_FREQ_LOW;
  GPIO_InitStruct.Alternate = GPIO_AF1_TIM2;
  HAL_GPIO_Init(ARD_D4_GPIO_Port, &GPIO_InitStruct);

  /*Configure GPIO pin : ARD_D7_Pin */
  GPIO_InitStruct.Pin = ARD_D7_Pin;
  GPIO_InitStruct.Mode = GPIO_MODE_ANALOG_ADC_CONTROL;
  GPIO_InitStruct.Pull = GPIO_NOPULL;
  HAL_GPIO_Init(ARD_D7_GPIO_Port, &GPIO_InitStruct);

  /*Configure GPIO pins : ARD_D12_Pin ARD_D11_Pin */
  GPIO_InitStruct.Pin = ARD_D12_Pin|ARD_D11_Pin;
  GPIO_InitStruct.Mode = GPIO_MODE_AF_PP;
  GPIO_InitStruct.Pull = GPIO_NOPULL;
  GPIO_InitStruct.Speed = GPIO_SPEED_FREQ_VERY_HIGH;
  GPIO_InitStruct.Alternate = GPIO_AF5_SPI1;
  HAL_GPIO_Init(GPIOA, &GPIO_InitStruct);

  /*Configure GPIO pin : ARD_D3_Pin */
  GPIO_InitStruct.Pin = ARD_D3_Pin;
  GPIO_InitStruct.Mode = GPIO_MODE_IT_RISING;
  GPIO_InitStruct.Pull = GPIO_NOPULL;
  HAL_GPIO_Init(ARD_D3_GPIO_Port, &GPIO_InitStruct);

  /*Configure GPIO pin : ARD_D6_Pin */
  GPIO_InitStruct.Pin = ARD_D6_Pin;
  GPIO_InitStruct.Mode = GPIO_MODE_ANALOG_ADC_CONTROL;
  GPIO_InitStruct.Pull = GPIO_NOPULL;
  HAL_GPIO_Init(ARD_D6_GPIO_Port, &GPIO_InitStruct);

  /*Configure GPIO pins : ARD_D8_Pin ISM43362_BOOT0_Pin ISM43362_WAKEUP_Pin LED2_Pin
                           SPSGRF_915_SDN_Pin ARD_D5_Pin */
  GPIO_InitStruct.Pin = ARD_D8_Pin|ISM43362_BOOT0_Pin|ISM43362_WAKEUP_Pin|LED2_Pin
                          |SPSGRF_915_SDN_Pin|ARD_D5_Pin;
  GPIO_InitStruct.Mode = GPIO_MODE_OUTPUT_PP;
  GPIO_InitStruct.Pull = GPIO_NOPULL;
  GPIO_InitStruct.Speed = GPIO_SPEED_FREQ_LOW;
  HAL_GPIO_Init(GPIOB, &GPIO_InitStruct);

  /*Configure GPIO pins : LPS22HB_INT_DRDY_EXTI0_Pin LSM6DSL_INT1_EXTI11_Pin ARD_D2_Pin HTS221_DRDY_EXTI15_Pin
                           PMOD_IRQ_EXTI12_Pin */
  GPIO_InitStruct.Pin = LPS22HB_INT_DRDY_EXTI0_Pin|LSM6DSL_INT1_EXTI11_Pin|ARD_D2_Pin|HTS221_DRDY_EXTI15_Pin
                          |PMOD_IRQ_EXTI12_Pin;
  GPIO_InitStruct.Mode = GPIO_MODE_IT_RISING;
  GPIO_InitStruct.Pull = GPIO_NOPULL;
  HAL_GPIO_Init(GPIOD, &GPIO_InitStruct);

  /*Configure GPIO pins : USB_OTG_FS_PWR_EN_Pin SPBTLE_RF_SPI3_CSN_Pin PMOD_RESET_Pin STSAFE_A100_RESET_Pin */
  GPIO_InitStruct.Pin = USB_OTG_FS_PWR_EN_Pin|SPBTLE_RF_SPI3_CSN_Pin|PMOD_RESET_Pin|STSAFE_A100_RESET_Pin;
  GPIO_InitStruct.Mode = GPIO_MODE_OUTPUT_PP;
  GPIO_InitStruct.Pull = GPIO_NOPULL;
  GPIO_InitStruct.Speed = GPIO_SPEED_FREQ_LOW;
  HAL_GPIO_Init(GPIOD, &GPIO_InitStruct);

  /*Configure GPIO pins : VL53L0X_XSHUT_Pin LED3_WIFI__LED4_BLE_Pin */
  GPIO_InitStruct.Pin = VL53L0X_XSHUT_Pin|LED3_WIFI__LED4_BLE_Pin;
  GPIO_InitStruct.Mode = GPIO_MODE_OUTPUT_PP;
  GPIO_InitStruct.Pull = GPIO_NOPULL;
  GPIO_InitStruct.Speed = GPIO_SPEED_FREQ_LOW;
  HAL_GPIO_Init(GPIOC, &GPIO_InitStruct);

  /*Configure GPIO pin : PMOD_SPI2_SCK_Pin */
  GPIO_InitStruct.Pin = PMOD_SPI2_SCK_Pin;
  GPIO_InitStruct.Mode = GPIO_MODE_AF_PP;
  GPIO_InitStruct.Pull = GPIO_NOPULL;
  GPIO_InitStruct.Speed = GPIO_SPEED_FREQ_VERY_HIGH;
  GPIO_InitStruct.Alternate = GPIO_AF5_SPI2;
  HAL_GPIO_Init(PMOD_SPI2_SCK_GPIO_Port, &GPIO_InitStruct);

  /*Configure GPIO pins : PMOD_UART2_CTS_Pin PMOD_UART2_RTS_Pin PMOD_UART2_TX_Pin PMOD_UART2_RX_Pin */
  GPIO_InitStruct.Pin = PMOD_UART2_CTS_Pin|PMOD_UART2_RTS_Pin|PMOD_UART2_TX_Pin|PMOD_UART2_RX_Pin;
  GPIO_InitStruct.Mode = GPIO_MODE_AF_PP;
  GPIO_InitStruct.Pull = GPIO_NOPULL;
  GPIO_InitStruct.Speed = GPIO_SPEED_FREQ_VERY_HIGH;
  GPIO_InitStruct.Alternate = GPIO_AF7_USART2;
  HAL_GPIO_Init(GPIOD, &GPIO_InitStruct);

  /*Configure GPIO pins : ARD_D15_Pin ARD_D14_Pin */
  GPIO_InitStruct.Pin = ARD_D15_Pin|ARD_D14_Pin;
  GPIO_InitStruct.Mode = GPIO_MODE_AF_OD;
  GPIO_InitStruct.Pull = GPIO_NOPULL;
  GPIO_InitStruct.Speed = GPIO_SPEED_FREQ_VERY_HIGH;
  GPIO_InitStruct.Alternate = GPIO_AF4_I2C1;
  HAL_GPIO_Init(GPIOB, &GPIO_InitStruct);

  /* EXTI interrupt init*/
  HAL_NVIC_SetPriority(EXTI1_IRQn, 5, 0);
  HAL_NVIC_EnableIRQ(EXTI1_IRQn);

  HAL_NVIC_SetPriority(EXTI9_5_IRQn, 5, 0);
  HAL_NVIC_EnableIRQ(EXTI9_5_IRQn);

  HAL_NVIC_SetPriority(EXTI15_10_IRQn, 5, 0);
  HAL_NVIC_EnableIRQ(EXTI15_10_IRQn);

}

/* USER CODE BEGIN 4 */

int _write(int file, char *ptr, int len)
{
	int DataIdx;
	for(DataIdx=0; DataIdx<len; DataIdx++)
	{
		ITM_SendChar(*ptr++);
	}
	return len;
}

ACCELERO_StatusTypeDef BSP_ACCELERO_Init_INT(uint8_t frec, uint8_t fs)
{
	ACCELERO_StatusTypeDef ret;
	ret = BSP_ACCELERO_Init(frec, fs);
	if (ret == ACCELERO_OK)
	{
		/* Initialize interruption*/
		uint8_t tmp;
		tmp = SENSOR_IO_Read(LSM6DSL_ACC_GYRO_I2C_ADDRESS_LOW, LSM6DSL_ACC_GYRO_DRDY_PULSE_CFG_G);
		tmp |=0b10000000;
		SENSOR_IO_Write(LSM6DSL_ACC_GYRO_I2C_ADDRESS_LOW, LSM6DSL_ACC_GYRO_DRDY_PULSE_CFG_G, tmp);

		tmp = SENSOR_IO_Read(LSM6DSL_ACC_GYRO_I2C_ADDRESS_LOW, LSM6DSL_ACC_GYRO_INT1_CTRL);
		tmp |=0b00000001;
		SENSOR_IO_Write(LSM6DSL_ACC_GYRO_I2C_ADDRESS_LOW, LSM6DSL_ACC_GYRO_INT1_CTRL, tmp);

		tmp = SENSOR_IO_Read(LSM6DSL_ACC_GYRO_I2C_ADDRESS_LOW, LSM6DSL_ACC_GYRO_MASTER_CONFIG);
		tmp |=0b10000000;
		SENSOR_IO_Write(LSM6DSL_ACC_GYRO_I2C_ADDRESS_LOW, LSM6DSL_ACC_GYRO_MASTER_CONFIG, tmp);
	}
	return ret;
}

void HAL_UART_RxCpltCallback(UART_HandleTypeDef *huart)
{

	static osStatus_t estado;
	if (huart == &huart1)
	{
		HAL_UART_Receive_IT(&huart1,&rec_data,1);
		printf("Recibido: %d\r\n",rec_data);
		osThreadFlagsSet(tarea_UARTHandle,0x0002U);
	}
}

void HAL_GPIO_EXTI_Callback(uint16_t GPIO_Pin)
{
	switch (GPIO_Pin)
	{
		case (LSM6DSL_INT1_EXTI11_Pin):
		{
			osThreadFlagsSet(readAccelHandle,0x0001U);
			break;
		}
		case(BOTON_Pin):
		{
			printf("Ha pulsado el boton\r\n");
			osThreadFlagsSet(readAccelHandle,0x0002U);
			break;
		}
		case (GPIO_PIN_1):
		{
			SPI_WIFI_ISR();
			break;
		}
		default:
		{
		  break;
		}
	}
}

static int wifi_start(void)
{
  uint8_t  MAC_Addr[6];
  printf("wifistart\r\n");
 /*Initialize and use WIFI module */
  if(WIFI_Init() ==  WIFI_STATUS_OK)
  {
    printf(("ES-WIFI Initialized.\r\n"));
    if(WIFI_GetMAC_Address(MAC_Addr) == WIFI_STATUS_OK)
    {
      printf("MAC asignada\r\n");
      printf("> eS-WiFi module MAC Address : %02X:%02X:%02X:%02X:%02X:%02X\r\n",
               MAC_Addr[0],
               MAC_Addr[1],
               MAC_Addr[2],
               MAC_Addr[3],
               MAC_Addr[4],
               MAC_Addr[5]);
    }
    else
    {
      printf("> ERROR : CANNOT get MAC address\r\n");
      return -1;
    }
  }
  else
  {
	printf("Errorfifi\r\n");
    return -1;
  }
  return 0;
}

int wifi_connect(char* SSID, char* PASSWORD)
{

  wifi_start();

  printf("Connecting to %s\r\n",SSID);
  if( WIFI_Connect(SSID, PASSWORD, WIFISECURITY) == WIFI_STATUS_OK)
  {
    if(WIFI_GetIP_Address(IP_Addr) == WIFI_STATUS_OK)
    {
      printf("> es-wifi module connected: got IP Address : %d.%d.%d.%d\r\n",
               IP_Addr[0],
               IP_Addr[1],
               IP_Addr[2],
               IP_Addr[3]);
    }
    else
    {
		  printf(" ERROR : es-wifi module CANNOT get IP address\r\n");
      return -1;
    }
  }
  else
  {
		 printf("ERROR : es-wifi module NOT connected\n");
     return -1;
  }
  return 0;
}

/**
  * @brief  SPI3 line detection callback.
  * @param  None
  * @retval None
  */
void SPI3_IRQHandler(void)
{
  HAL_SPI_IRQHandler(&hspi);
}

void prvMQTTProcessIncomingPublish( MQTTPublishInfo_t *pxPublishInfo )
{
	char buffer1[128];
	char buffer2[128];
    const char * pTopicName;
    uint8_t i;
    uint8_t limit[6][2] = {{0,23},{0,59},{0,59},{1,31},{1,12},{0,99}};
    uint16_t numero_usuario,frec_muestreo, frec_muestreo_str;
    uint8_t fondo_escala, fondo_escala_str;
    uint8_t to_change[6];
    bool dato_erroneo;
	const char* msg_error = "\r\nERROR: Valor de configuracion no válido\r\n";
	const char* msg_hora_ok = "\r\nHora cambiada correctamente\r\n";
	const char* msg_fecha_ok = "Fecha cambiada correctamente\r\n";

	uint8_t valores_frec_accel[3] = {52,104,208};
	uint8_t valores_frec_accel_str[3] = {LSM6DSL_ODR_52Hz, LSM6DSL_ODR_104Hz, LSM6DSL_ODR_208Hz};
	uint8_t valores_fs_accel[3] = {2,4,8};
	uint8_t valores_fs_accel_str[3] = {LSM6DSL_ACC_SENSITIVITY_2G, LSM6DSL_ACC_SENSITIVITY_4G, LSM6DSL_ACC_SENSITIVITY_8G};
	const char* msg_accelero_reconf = "ACELEROMETRO RECONFIGURADO\r\n";

	// pPayload no termina en \0, hay que copiarlo en un buffer para imprimirlo. Lo mismo con pTopicName
	memcpy(buffer1,pxPublishInfo->pPayload,min(127,pxPublishInfo->payloadLength));
	buffer1[min(1023,pxPublishInfo->payloadLength)]='\0';
	memcpy(buffer2,pxPublishInfo->pTopicName,min(127,pxPublishInfo->topicNameLength));
	buffer2[min(1023,pxPublishInfo->topicNameLength)]='\0';

	printf("Topic \"%s\": publicado \"%s\"\n",buffer2,buffer1);

  // Actuar localmente sobre los LEDs o alguna otra cosa

	for(i=0;i<strlen(tempSupTopic);i++){
		if(buffer2[i] != tempSupTopic[i]){
			break;
		}
	}
	if (i == strlen(tempSupTopic)){
		if(buffer1[0]=='1'){
			modo_continuo = true;
			HAL_GPIO_WritePin(LED2_GPIO_Port, LED2_Pin, GPIO_PIN_SET);
		}else if(buffer1[0]=='0'){
			modo_continuo = false;
			HAL_GPIO_WritePin(LED2_GPIO_Port, LED2_Pin, GPIO_PIN_RESET);
		}

	}

	for(i=0;i<strlen(rtcConfTopic);i++){
		if(buffer2[i] != rtcConfTopic[i]){
			break;
		}
	}
	if (i == strlen(rtcConfTopic)){
		dato_erroneo = false;
		for (i=0;i<6 && !dato_erroneo;){
			numero_usuario = 10*(buffer1[3*i]-48) + buffer1[3*i+1]-48;
			printf("Dato: %d\r\n",numero_usuario);
			printf("Rango: %d-%d\r\n",limit[i][0],limit[i][1]);
			if (numero_usuario<limit[i][0] || numero_usuario>limit[i][1]){
				dato_erroneo = true;
				osMessageQueuePut(print_queueHandle, &msg_error, 0, pdMS_TO_TICKS(500));

			}else{
				to_change[i]=numero_usuario;
				i++;
			}

		}
		if(i == 6){
			RTC_TimeTypeDef sTime = {0};
			RTC_DateTypeDef sDate = {0};

			sTime.Hours = to_change[0];
			sTime.Minutes = to_change[1];
			sTime.Seconds = to_change[2];

			if (HAL_RTC_SetTime(&hrtc, &sTime, RTC_FORMAT_BIN) != HAL_OK)
			  {
				Error_Handler();
			  }

			osMessageQueuePut(print_queueHandle, &msg_hora_ok, 0, pdMS_TO_TICKS(500));

			sDate.Date = to_change[3];
			sDate.Month = to_change[4];
			sDate.Year = to_change[5];
			printf("Anio: %d\r\n",to_change[5]);
			if (HAL_RTC_SetDate(&hrtc, &sDate, RTC_FORMAT_BIN) != HAL_OK)
			{
				Error_Handler();
			}

			osMessageQueuePut(print_queueHandle, &msg_fecha_ok, 0, pdMS_TO_TICKS(500));
		}
	}

	for(i=0;i<strlen(accelConfTopic);i++){
		if(buffer2[i] != accelConfTopic[i]){
			break;
		}
	}
	if (i == strlen(accelConfTopic)){
		frec_muestreo = 100*(buffer1[0]-48) + 10*(buffer1[1]-48) + buffer1[2]-48;
		fondo_escala = buffer1[4]-48;
		for(i=0 ; i<strlen(valores_frec_accel) ; i++){
			if (frec_muestreo == valores_frec_accel[i]){
				frec_muestreo_str = valores_frec_accel_str[i];
				break;
			}
		}
		if (i == strlen(valores_frec_accel)){
			osMessageQueuePut(print_queueHandle, &msg_error, 0, pdMS_TO_TICKS(500));
		}else{
			for(i=0 ; i<strlen(valores_fs_accel) ; i++){
				if (fondo_escala == valores_fs_accel[i]){
					fondo_escala_str = valores_fs_accel_str[i];
					break;
				}
			}
			if (i == strlen(valores_fs_accel)){
				osMessageQueuePut(print_queueHandle, &msg_error, 0, pdMS_TO_TICKS(500));
			}else{
				//Intentamos configurar el acelerometro
				status_acc = BSP_ACCELERO_Init_INT(frec_muestreo_str, fondo_escala_str);
				if (status_acc == ACCELERO_OK){
					frec_muestreo_actual = frec_muestreo;
					osMessageQueuePut(print_queueHandle, &msg_accelero_reconf, 0, pdMS_TO_TICKS(500));
				}
			}
		}

	}

}

/* USER CODE END 4 */

void conf_inicial_func(void *argument)
{
  /* USER CODE BEGIN 5 */
	uint8_t recibido[20];
	//uint32_t flag_rec;
	osStatus_t estado;
	uint32_t return_wait = 0U;

	uint16_t num_usuario;
	uint8_t to_change[6];
	const char* msg_hora_ok = "\r\nHora cambiada correctamente\r\n";
	const char* msg_fecha_ok = "Fecha cambiada correctamente\r\n";
	const char* msg_error = "\r\nERROR: Valor no válido\r\n";
	const char* msg_rtc1 = "\r\n\r\n========================\r\n"
	"| Configurar rtc |\r\n"
	"========================\r\n\r\n";
	const char* msg[6] = {
	"Hora (0-23): ", "\r\nMinuto (0-59): ","\r\nSegundo (0-59): ","\r\nDía (1-31): ","\r\nMes (1-12): ",
	"\r\nAño (0-99): "};
	uint8_t limit[6][2] = {{0,23},{0,59},{0,59},{1,31},{1,12},{0,99}};

	printf("Empieza el bucle\r\n");
	estado = osMessageQueuePut(print_queueHandle, &msg_rtc1, 0, pdMS_TO_TICKS(500));
	int i,j,m = 0;
	for (i=0;i<6;){
		estado = osMessageQueuePut(print_queueHandle, &msg[i], 0, pdMS_TO_TICKS(500));
		printf("Esperando a que ser reciba el dato\r\n");

		for (j=0;j<3;){
			estado = osMessageQueueGet(receive_queueHandle, &recibido[j], NULL, osWaitForever);
			printf("De la cola: %c\r\n",recibido[j]);
			if(recibido[j]==13){
				printf("Ha pulsado intro\r\n");
				break;
			}
			if (recibido[j]==127){
				printf("Ha pulsado borrar\r\n");
				if (j>0) j--;
			}else{
				j++;
			}
		}
		printf("%d\r\n",j);
		switch(j){
		case 0:
			num_usuario=0;
			break;
		case 1:
			num_usuario = recibido[0]-48;
			//i++;
			break;
		case 2:
			num_usuario = 10*(recibido[0]-48)+recibido[1]-48;
			//i++;
			break;
		case 3:
			num_usuario = 100*(recibido[0]-48)+10*(recibido[1]-48)+recibido[2]-48;
			break;
		}
		printf("Numero: %d\r\n",num_usuario);
		printf("Rango: %d-%d\r\n",limit[i][0],limit[i][1]);
		if (num_usuario<limit[i][0] || num_usuario>limit[i][1]){
			estado = osMessageQueuePut(print_queueHandle, &msg_error, 0, pdMS_TO_TICKS(500));
			if (estado == osOK)
				printf("Enviado valor erroneo\r\n");
			else
				printf("Algo no va bien\r\n");
		}else{
			to_change[i]=num_usuario;
			i++;
		}

	}

	RTC_TimeTypeDef sTime = {0};
	RTC_DateTypeDef sDate = {0};

	sTime.Hours = to_change[0];
	sTime.Minutes = to_change[1];
	sTime.Seconds = to_change[2];

	if (HAL_RTC_SetTime(&hrtc, &sTime, RTC_FORMAT_BIN) != HAL_OK)
	  {
	    Error_Handler();
	  }

	osMessageQueuePut(print_queueHandle, &msg_hora_ok, 0, pdMS_TO_TICKS(500));

	sDate.Date = to_change[3];
	sDate.Month = to_change[4];
	sDate.Year = to_change[5];
	printf("Anio: %d\r\n",to_change[5]);
	if (HAL_RTC_SetDate(&hrtc, &sDate, RTC_FORMAT_BIN) != HAL_OK)
	{
		Error_Handler();
	}

	osMessageQueuePut(print_queueHandle, &msg_fecha_ok, 0, pdMS_TO_TICKS(500));

	const char* msg_wifi_conf_init = "\r\nInicio de configuración del WiFi\r\n";
	const char* msg_wifi_connect_init = "\r\nConectando al WiFi\r\n";
	const char* msg_wifi_connect_error = "No se ha podido conectar, vuelva a introducir los datos\r\n";
	const char* msg_wifi_connect_success = "\r\nCONECTADO\r\n";
	const char* msg_too_many_characters = "\r\nHas introducido demasiados caracteres, prueba de nuevo\r\n";
	const char* msg_introduce_ssid = "Introduce el ssid: ";
	const char* msg_introduce_psswrd = "\r\nIntroduce la contraseña: ";

	osMessageQueuePut(print_queueHandle, &msg_wifi_conf_init, 0, pdMS_TO_TICKS(500));

	//bucle de conexión
	while (1){

		//configuracion ssid
		osMessageQueuePut(print_queueHandle, &msg_introduce_ssid, 0, pdMS_TO_TICKS(500));
		for (j=0; j<MAX_LEN_SSID ; ){
			estado = osMessageQueueGet(receive_queueHandle, &recibido[j], NULL, osWaitForever);
			printf("De la cola: %c\r\n",recibido[j]);
			if(recibido[j]==13){
				printf("Ha pulsado intro\r\n");
				break;
			}
			if (recibido[j]==127){
				printf("Ha pulsado borrar\r\n");
				if (j>0) j--;
			}else{
				j++;
			}
		}
		if (j==MAX_LEN_SSID){
			osMessageQueuePut(print_queueHandle, &msg_too_many_characters, 0, pdMS_TO_TICKS(500));
		}else{
//			printf("Guardamos el ssid\r\n");
			char ssid[j];
//			printf("j: %d\r\n",j);
			for (m=0 ; m<j ; m++){
//				printf("m: %d\r\n",m);
//				printf("caracter: %c\r\n",recibido[m]);
				ssid[m] = recibido[m];
			}

			//configuracion contraseña
			osMessageQueuePut(print_queueHandle, &msg_introduce_psswrd, 0, pdMS_TO_TICKS(500));

			for (j=0; j<MAX_LEN_PSSWRD ; ){
				estado = osMessageQueueGet(receive_queueHandle, &recibido[j], NULL, osWaitForever);
//				printf("De la cola: %c\r\n",recibido[j]);
				if(recibido[j]==13){
//					printf("Ha pulsado intro\r\n");
					break;
				}
				if (recibido[j]==127){
//					printf("Ha pulsado borrar\r\n");
					if (j>0) j--;
				}else{
					j++;
				}
			}
			if (j==MAX_LEN_PSSWRD){
				osMessageQueuePut(print_queueHandle, &msg_too_many_characters, 0, pdMS_TO_TICKS(500));
			}else{
//				printf("Guardamos el psswrd\r\n");
				char psswrd[j];
//				printf("j: %d\r\n",j);
				for (m=0 ; m<j ; m++){
//					printf("m: %d\r\n",m);
//					printf("caracter: %c\r\n",recibido[m]);
					psswrd[m] = recibido[m];
				}

				osMessageQueuePut(print_queueHandle, &msg_wifi_connect_init, 0, pdMS_TO_TICKS(500));

				if (wifi_connect(ssid,psswrd) != 0){
					osMessageQueuePut(print_queueHandle, &msg_wifi_connect_error, 0, pdMS_TO_TICKS(500));
				}
				else{
					break;
				}

			}
		}

	}

	osMessageQueuePut(print_queueHandle, &msg_wifi_connect_success, 0, pdMS_TO_TICKS(500));

	osThreadFlagsSet(clientMQTTHandle,0x0001U);

  /* Infinite loop */
  for(;;)
  {

	  osDelay(pdMS_TO_TICKS(1000));
  }
  /* USER CODE END 5 */
}

void readAccel_func(void *argument)
{
  /* USER CODE BEGIN readAccel_func */
	osStatus_t estado;

	char mensaje[100];
	char *p_mensaje = mensaje;

	char mensaje_params[100];
	char* p_mensaje_params = mensaje_params;

	int16_t DataXYZ[3];
	int16_t *pDataXYZ = DataXYZ;

	uint8_t horas,minutos,segundos,dia,mes,anio = 0;
	uint16_t milisegundos = 0;
	uint32_t return_wait = 0U;

	uint16_t iter; // Se usa para iterar en 64 o 1024 aceleraciones
	uint16_t max_iter;

	printf("ReadAccel task esperando\r\n");
	// Esperamos que el usuario configure el RTC y que el acelerometro este activo
	return_wait = osThreadFlagsWait(0x0008U, osFlagsWaitAll, osWaitForever);

	//Activamos el temporizador
	osThreadFlagsSet(temporizadorHandle,0x0001U);

	printf("ReadAccel task se inicia\r\n");

	const char* msg_read_normal = "\r\nLectura en modo normal\r\n";
	const char* msg_read_continuous = "\r\nLectura en modo continuo\r\n";

	/* Infinite loop */
	for(;;)
	{
		return_wait = osThreadFlagsWait(0x0006U, osFlagsWaitAny, osWaitForever); //espera media hora o que alguien pulse el boton
		if(return_wait == osFlagsErrorTimeout){
			printf("Ha pasado media hora\r\n");
		}
		else {
			printf("El usuario quiere enviar aceleraciones, modo continuo = %d\r\n",modo_continuo);
		}

		if (modo_continuo){
			max_iter = MUESTRAS_CONTINUO;
			osMessageQueuePut(print_queueHandle, &msg_read_continuous, 0, pdMS_TO_TICKS(500));
		}else{
			max_iter = MUESTRAS_NORMAL;
			osMessageQueuePut(print_queueHandle, &msg_read_normal, 0, pdMS_TO_TICKS(500));
		}

		snprintf(mensaje_params, 100, "Publicadas: %d muestras, frec_muestreo: %dHz",max_iter,frec_muestreo_actual);

		for (iter=0 ; iter<max_iter ; iter++){
			osThreadFlagsWait(0x0001U, osFlagsWaitAny, osWaitForever);
			BSP_ACCELERO_AccGetXYZ(pDataXYZ);

			HAL_RTC_GetTime(&hrtc, &GetTime, RTC_FORMAT_BIN);
			horas = GetTime.Hours;
			minutos = GetTime.Minutes;
			segundos = GetTime.Seconds;
			milisegundos = (uint16_t)1000*((float)(GetTime.SecondFraction-GetTime.SubSeconds)) / ((float)(GetTime.SecondFraction+1));

			HAL_RTC_GetDate(&hrtc, &GetDate, RTC_FORMAT_BIN);
			anio = GetDate.Year;
			dia = GetDate.Date;
			mes = GetDate.Month;

			snprintf(mensaje,100,"%d/%d/%d %d:%d:%d:%d %d,%d,%d",dia,mes,anio+2000,horas,minutos,segundos,milisegundos,DataXYZ[0],DataXYZ[1],DataXYZ[2]);

			printf("iter: %d\r\n",iter);

			osMessageQueuePut(publish_queueHandle, &p_mensaje, 0, pdMS_TO_TICKS(500));

		}

		osMessageQueuePut(publish_queueHandle, &p_mensaje_params, 0, pdMS_TO_TICKS(500));
		printf("Se han leido todas las aceleraciones, esperamos media hora o hasta que alguien pulse el boton\r\n");

	}
  /* USER CODE END readAccel_func */
}

void printTask_func(void *argument)
{
  /* USER CODE BEGIN printTask_func */
	uintptr_t mensaje;
	osStatus_t estado;
  /* Infinite loop */
  for(;;)
  {
	  estado = osMessageQueueGet(print_queueHandle, &mensaje, NULL, osWaitForever);

	  if (estado == osOK)
	  {
		  //printf("%s",(char*)mensaje);
		  HAL_UART_Transmit(&huart1, (uint8_t*)mensaje, strlen(mensaje),10);
	  }
	  else if (estado == osErrorTimeout)
	  {
		  printf("Timeout printTask\r\n");
	  }
	  else
	  {
		  printf("Error en la tarea print\r\n");
	  }

  }
  /* USER CODE END printTask_func */
}

void tarea_UART_func(void *argument)
{
  /* USER CODE BEGIN tarea_UART_func */
	osStatus_t estado;
	uint32_t return_wait = 0U;
  /* Infinite loop */
  for(;;)
  {
	  return_wait = osThreadFlagsWait(0x0002U, osFlagsWaitAny, osWaitForever);
	  estado = osMessageQueuePut(receive_queueHandle, &rec_data,0,pdMS_TO_TICKS(200));
	  if (estado == osOK)
		  printf("Estado: ok\r\n");
	  else
		  printf("Algo no va bien\r\n");

  }
  /* USER CODE END tarea_UART_func */
}

void temporizador_func(void *argument)
{
  /* USER CODE BEGIN temporizador_func */
	osThreadFlagsWait(0x0001U, osFlagsWaitAll, osWaitForever);
	printf("Temporizador activado\r\n");
  /* Infinite loop */
  for(;;)
  {
    osDelay(pdMS_TO_TICKS(1800000)); //Periodo en ms con el que se mandan las aceleraciones
    osThreadFlagsSet(readAccelHandle,0x0004U);
  }
  /* USER CODE END temporizador_func */
}

void clientMQTT_func(void *argument)
{
  /* USER CODE BEGIN clientMQTT_func */
	uint32_t return_wait = 0U;
	osStatus_t estado;
	uintptr_t mensaje;

	uint16_t iter;
	uint16_t max_iter;

	char payLoad[16];

	const char* msg_mqtt_initialized = "\r\nMQTT INICIALIZADO\r\n\r\n";

	osThreadFlagsWait(0x0001U, osFlagsWaitAny, osWaitForever);

	const uint32_t ulMaxPublishCount = 5UL;
	NetworkContext_t xNetworkContext = { 0 };
	MQTTContext_t xMQTTContext;
	MQTTStatus_t xMQTTStatus;
	TransportStatus_t xNetworkStatus;

	/* Attempt to connect to the MQTT broker. The socket is returned in
	* the network context structure. */
	xNetworkStatus = prvConnectToServer( &xNetworkContext, SOCKET );
	printf("Mitad de la definicion mqtt\r\n");
	configASSERT( xNetworkStatus == PLAINTEXT_TRANSPORT_SUCCESS );
	//LOG(("Trying to create an MQTT connection\n"));
	prvCreateMQTTConnectionWithBroker( &xMQTTContext, &xNetworkContext );
	prvMQTTSubscribeToTopic(&xMQTTContext,tempSupTopic);
	prvMQTTSubscribeToTopic(&xMQTTContext,rtcConfTopic);
	prvMQTTSubscribeToTopic(&xMQTTContext,accelConfTopic);

	osMessageQueuePut(print_queueHandle, &msg_mqtt_initialized, 0, pdMS_TO_TICKS(500));
	printf("Contexto mqtt inicializado\r\n");

	osThreadFlagsSet(readAccelHandle,0x0008U);
	//osThreadFlagsSet(temp_subHandle, 0x0001U);

	const char* msg_modo_continuo = "Modo continuo\r\n";
	const char* msg_modo_normal = "Modo normal\r\n";

  /* Infinite loop */
	for(;;)
	{
		estado = osMessageQueueGet(publish_queueHandle, &mensaje, NULL, pdMS_TO_TICKS(3000)); //Minimo la mitad de tiempo de lo que tarda en actualizar el valor el otro nodo

		 if (estado == osOK)
		 {
		  //printf("Publicamos: %s",(char*)mensaje);
			 sprintf(payLoad,"%s",mensaje);
			 prvMQTTPublishToTopic(&xMQTTContext,accelTopic,payLoad);
		 }
		 else if (estado == osErrorTimeout)
		 {
			 printf("Procesamos subscripcion\r\n");
			 MQTT_ProcessLoop(&xMQTTContext);
			 if (modo_continuo) osMessageQueuePut(print_queueHandle, &msg_modo_continuo, 0, pdMS_TO_TICKS(500));
			 else osMessageQueuePut(print_queueHandle, &msg_modo_normal, 0, pdMS_TO_TICKS(500));

		 }
		 else
		 {
			 printf("Error en la tarea sendMQTT\r\n");
		 }

	}
  /* USER CODE END clientMQTT_func */
}

void HAL_TIM_PeriodElapsedCallback(TIM_HandleTypeDef *htim)
{
  if (htim->Instance == TIM6) {
    HAL_IncTick();
  }
}

void Error_Handler(void)
{
  __disable_irq();
  while (1)
  {
  }
}
